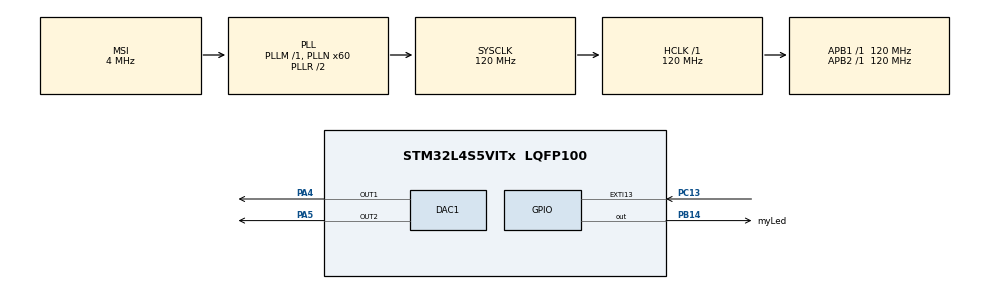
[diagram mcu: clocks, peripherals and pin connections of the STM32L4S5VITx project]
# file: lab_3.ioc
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ADC1.Channel-0\#ChannelRegularConversion=ADC_CHANNEL_TEMPSENSOR
ADC1.NbrOfConversionFlag=1
ADC1.OffsetNumber-0\#ChannelRegularConversion=ADC_OFFSET_NONE
ADC1.Rank-0\#ChannelRegularConversion=1
ADC1.SamplingTime-0\#ChannelRegularConversion=ADC_SAMPLETIME_640CYCLES_5
ADC1.master=1
DAC1.DAC_Channel-DAC_OUT2=DAC_CHANNEL_2
DAC1.DAC_Trigger-DAC_OUT1=DAC_TRIGGER_T2_TRGO
Dma.DAC1_CH1.0.Direction=DMA_MEMORY_TO_PERIPH
Dma.DAC1_CH1.0.EventEnable=DISABLE
Dma.DAC1_CH1.0.Instance=DMA1_Channel2
Dma.DAC1_CH1.0.MemDataAlignment=DMA_MDATAALIGN_HALFWORD
Dma.DAC1_CH1.0.MemInc=DMA_MINC_ENABLE
Dma.DAC1_CH1.0.Mode=DMA_CIRCULAR
Dma.DAC1_CH1.0.PeriphDataAlignment=DMA_PDATAALIGN_HALFWORD
Dma.DAC1_CH1.0.PeriphInc=DMA_PINC_DISABLE
Dma.DAC1_CH1.0.Polarity=HAL_DMAMUX_REQUEST_GEN_RISING
Dma.DAC1_CH1.0.Priority=DMA_PRIORITY_LOW
Dma.DAC1_CH1.0.RequestNumber=1
Dma.DAC1_CH1.0.SignalID=NONE
Dma.DAC1_CH1.0.SyncEnable=DISABLE
Dma.DAC1_CH1.0.SyncPolarity=HAL_DMAMUX_SYNC_NO_EVENT
Dma.DAC1_CH1.0.SyncRequestNumber=1
Dma.DAC1_CH1.0.SyncSignalID=NONE
Dma.Request0=DAC1_CH1
Mcu.Family=STM32L4
Mcu.Name=STM32L4S5VITx
Mcu.Package=LQFP100
NVIC.DMA1_Channel2_IRQn=true\:0\:0\:false\:false\:true\:false\:true\:true
NVIC.EXTI15_10_IRQn=true\:0\:0\:false\:false\:true\:true\:true\:true
NVIC.PriorityGroup=NVIC_PRIORITYGROUP_4
NVIC.TIM2_IRQn=true\:0\:0\:false\:false\:true\:true\:true\:true
PA13\ (JTMS/SWDIO).Signal=SYS_JTMS-SWDIO
PA4.Signal=COMP_DAC11_group
PA5.Signal=COMP_DAC12_group
PB14.GPIO_Label=myLed
PB14.Signal=GPIO_Output
PB3\ (JTDO/TRACESWO).Signal=SYS_JTDO-SWO
PC13.Signal=GPXTI13
ProjectManager.HeapSize=0x200
ProjectManager.StackSize=0x400
ProjectManager.TargetToolchain=STM32CubeIDE
RCC.ADCFreq_Value=32000000
RCC.AHBFreq_Value=120000000
RCC.APB1Freq_Value=120000000
RCC.APB1TimFreq_Value=120000000
RCC.APB2Freq_Value=120000000
RCC.APB2TimFreq_Value=120000000
RCC.CortexFreq_Value=120000000
RCC.HCLKFreq_Value=120000000
RCC.HSE_VALUE=8000000
RCC.HSI48_VALUE=48000000
RCC.HSI_VALUE=16000000
RCC.LSE_VALUE=32768
RCC.MSI_VALUE=4000000
RCC.PLLN=60
RCC.PLLSAI1N=16
RCC.SYSCLKFreq_VALUE=120000000
RCC.SYSCLKSource=RCC_SYSCLKSOURCE_PLLCLK
RCC.USBFreq_Value=32000000
RCC.VCOOutputFreq_Value=240000000
SH.COMP_DAC11_group.0=DAC1_OUT1,DAC_OUT1
SH.COMP_DAC12_group.0=DAC1_OUT2,DAC_OUT2
TIM2.Period=23
TIM2.Prescaler=120
TIM2.TIM_MasterOutputTrigger=TIM_TRGO_UPDATE
VP_ADC1_TempSens_Input.Mode=IN-TempSens
VP_ADC1_Vref_Input.Mode=IN-Vrefint
VP_TIM2_VS_ClockSourceINT.Mode=Internal
board=B-L4S5I-IOT01A

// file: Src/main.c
/* USER CODE BEGIN Header */
/**
  ******************************************************************************
  * @file           : main.c
  * @brief          : Main program body
  ******************************************************************************
  * @attention
  *
  * Copyright (c) 2023 STMicroelectronics.
  * All rights reserved.
  *
  * This software is licensed under terms that can be found in the LICENSE file
  * in the root directory of this software component.
  * If no LICENSE file comes with this software, it is provided AS-IS.
  *
  ******************************************************************************
  */
/* USER CODE END Header */
#include "main.h"

/* USER CODE BEGIN Includes */
#include <math.h>
#define ARM_MATH_CM4
#include "arm_math.h"
#include <stdio.h>
//#include "stm32l4xx_hal_adc_ex.h"

/* USER CODE END Includes */

ADC_HandleTypeDef hadc1;

DAC_HandleTypeDef hdac1;
DMA_HandleTypeDef hdma_dac1_ch1;

TIM_HandleTypeDef htim2;

/* USER CODE BEGIN PV */
float temp;
float vref;
float vref_temp;
uint16_t sawtooth_data;
uint16_t triangle_data;
uint16_t sin_data;

int globalIndex;
int secondsElapsed;

int sin1kHz[44];
uint16_t sin15kHz[30];
uint16_t sin2kHz[22];

int selector;

#define SIZE1K 44
#define SIZE15K 30
#define SIZE2K 22

/*
 * The following arrays are for a frequency of 65Hz, and an amplitude of 1V.
 * To adjust the amplitude, just multiply each element by a desired amplitude, A.
 */
int triangleArray[15] = {0, 530, 1060, 1590, 2120, 2650, 3180, 3710, 3180, 2650, 2120, 1590, 1060, 530, 0};
int sawtoothArray[15] = { 0,  270,  540,  810, 1080, 1350, 1620, 1890, 2160, 2430, 2700, 2970, 3240, 3510,3780};

/* USER CODE END PV */

void SystemClock_Config(void);
static void MX_GPIO_Init(void);
static void MX_DMA_Init(void);
static void MX_ADC1_Init(void);
static void MX_DAC1_Init(void);
static void MX_TIM2_Init(void);
/* USER CODE BEGIN PFP */
void configure_channels(int i);

/* USER CODE END PFP */

/* USER CODE BEGIN 0 */

#define VREFINT ((uint16_t*)(uint32_t)0x1FFF75AA)
#define TS_CAL1 ((uint16_t*)(uint32_t)0x1FFF75A8) //TS ADC raw data acquired at a temperature of 30 °C  (AROUND 3 V)
#define TS_CAL2 ((uint16_t*)(uint32_t)0x1FFF75CA) //TS ADC raw data acquired at a temperature of 130 °C

#define TS_CAL1_TEMP ((float)30.0) //temp used to measure TS_CAL1
#define TS_CAL2_TEMP ((float) 130.0) //temp used to measure TS_CAL2

//conditional compiling

#define TIMER
#undef P1
#define SINTEST

/* USER CODE END 0 */

int main(void)
{

  /* MCU Configuration--------------------------------------------------------*/

  /* Reset of all peripherals, Initializes the Flash interface and the Systick. */
  HAL_Init();

  /* Configure the system clock */
  SystemClock_Config();

  /* Initialize all configured peripherals */
  MX_GPIO_Init();
  MX_DMA_Init();
  MX_ADC1_Init();
  MX_DAC1_Init();
  MX_TIM2_Init();
  /* USER CODE BEGIN 2 */

//  while(HAL_ADCEx_Calibration_Start(&hadc1,0) != HAL_OK);           // calibrate AD convertor

//  HAL_ADCEx_CalibrationStart(); //improve accuarcy of ADC conversion by calibrating driver

  /* USER CODE END 2 */

  /* Infinite loop */
  /* USER CODE BEGIN WHILE */

  // find vref
  configure_channels(0); 										//switch to voltage channel on ADC MUX
  HAL_ADC_Start(&hadc1); 								   //activate peripheral and start conversion
  HAL_ADC_PollForConversion(&hadc1, HAL_MAX_DELAY);  	  //wait for completion
  float raw_voltage = HAL_ADC_GetValue(&hadc1);		  //read sensor's digital value
  HAL_ADC_Stop(&hadc1);
  vref = 3.0f * (*VREFINT)/raw_voltage;

  // initialize variables
//  int frequency = 65;
//  int numSamples = 4*frequency;
//  double timestep = 1/frequency/numSamples*1000; // get the timestep in ms
  int nb = 8; // number of bits in data

  // initialize DAC data
  sawtooth_data = 0;
  triangle_data = 0;
  globalIndex = 0;
  secondsElapsed = 0;
//  double sawtooth;
//  double triangle;
  double sin;
  sin_data = 0;

  float rad = 0;

  //start DMA
 // printf("Starting while loop \n");

  selector = 0; //to select between sin waves

  //create the 1 kHz wave => 44 samples
  for (int y = 0; y<SIZE1K ; y++){
	  rad = (2*M_PI/SIZE1K)*y;
	  sin1kHz[y] = (arm_sin_f32(rad)+ 1)*4096/3.3; // +1 for positive and multiplication for amplitude
	  printf("%d", sin1kHz[y]);
  }

  for (int y = 0; y<SIZE15K ; y++){
  	  rad = (2*M_PI/SIZE15K)*y;
  	  sin15kHz[y] = (arm_sin_f32(rad)+ 1)*4096/vref; // +1 for positive and multiplication for amplitude
  }

  for (int y = 0; y<SIZE2K ; y++){
  	  rad = (2*M_PI/SIZE2K)*y;
  	  sin2kHz[y] = (arm_sin_f32(rad)+ 1)*4096/vref; // +1 for positive and multiplication for amplitude
  }

  int i = 0;

  HAL_DAC_Start(&hdac1, DAC_CHANNEL_1);
  HAL_DAC_Start(&hdac1, DAC_CHANNEL_2);
  HAL_TIM_Base_Start_IT(&htim2);

#ifdef DMA
  HAL_DAC_Start_DMA(&hdac1, DAC_CHANNEL_1,(uint32_t*)sin1kHz, SIZE1K, DAC_ALIGN_12B_R);
#endif

  while (1)
  {

    /* USER CODE END WHILE */

    /* USER CODE BEGIN 3 */

#ifdef P1 //not when timer is not working
	//HAL_DAC_setValue(sawtooth[i]);
//	 sawtooth  = sawtoothArray[i];
//	 triangle = triangleArray[i];
//
//	 sawtooth_data = sawtooth;
//	 triangle_data = triangle;
//
	 sawtooth_data = sawtoothArray[i];
	 triangle_data = triangleArray[i];

	// To test sawtooth signal, simply change the data variable name in the
	// HAL_DAC_SetValue function!
	HAL_DAC_SetValue(&hdac1, DAC_CHANNEL_1, DAC_ALIGN_12B_R, triangle_data);
	HAL_DAC_SetValue(&hdac1, DAC_CHANNEL_2, DAC_ALIGN_12B_R, sawtooth_data);
	HAL_Delay(0.5);
	// 15 samples
    i++;
	if (i >= 15) {
		i = 0; //after 15 samples, reset the loop
	}
#endif

#ifdef SINTEST
	// arm_sin_f32 test
//	sin_data = sin2kHz[i%22];
//	// write to DAC
////	HAL_DAC_SetValue(&hdac1, DAC_CHANNEL_1, DAC_ALIGN_12B_R, sin1kHz[i%14]);
//	HAL_Delay(0); // 1.5ms
//	printf("index : %d, value : %d \n", i%22,sin2kHz[i%22]);
//	i++;

#endif

  }
//stop dma
  HAL_TIM_Base_Stop_IT(&htim2);  //stop timer
  HAL_DAC_Stop(&hdac1, DAC_CHANNEL_1);
  HAL_DAC_Stop(&hdac1, DAC_CHANNEL_2);

  /* USER CODE END 3 */
}

void SystemClock_Config(void)
{
  RCC_OscInitTypeDef RCC_OscInitStruct = {0};
  RCC_ClkInitTypeDef RCC_ClkInitStruct = {0};

  /** Configure the main internal regulator output voltage
  */
  if (HAL_PWREx_ControlVoltageScaling(PWR_REGULATOR_VOLTAGE_SCALE1_BOOST) != HAL_OK)
  {
    Error_Handler();
  }

  /** Initializes the RCC Oscillators according to the specified parameters
  * in the RCC_OscInitTypeDef structure.
  */
  RCC_OscInitStruct.OscillatorType = RCC_OSCILLATORTYPE_MSI;
  RCC_OscInitStruct.MSIState = RCC_MSI_ON;
  RCC_OscInitStruct.MSICalibrationValue = 0;
  RCC_OscInitStruct.MSIClockRange = RCC_MSIRANGE_6;
  RCC_OscInitStruct.PLL.PLLState = RCC_PLL_ON;
  RCC_OscInitStruct.PLL.PLLSource = RCC_PLLSOURCE_MSI;
  RCC_OscInitStruct.PLL.PLLM = 1;
  RCC_OscInitStruct.PLL.PLLN = 60;
  RCC_OscInitStruct.PLL.PLLP = RCC_PLLP_DIV2;
  RCC_OscInitStruct.PLL.PLLQ = RCC_PLLQ_DIV2;
  RCC_OscInitStruct.PLL.PLLR = RCC_PLLR_DIV2;
  if (HAL_RCC_OscConfig(&RCC_OscInitStruct) != HAL_OK)
  {
    Error_Handler();
  }

  /** Initializes the CPU, AHB and APB buses clocks
  */
  RCC_ClkInitStruct.ClockType = RCC_CLOCKTYPE_HCLK|RCC_CLOCKTYPE_SYSCLK
                              |RCC_CLOCKTYPE_PCLK1|RCC_CLOCKTYPE_PCLK2;
  RCC_ClkInitStruct.SYSCLKSource = RCC_SYSCLKSOURCE_PLLCLK;
  RCC_ClkInitStruct.AHBCLKDivider = RCC_SYSCLK_DIV1;
  RCC_ClkInitStruct.APB1CLKDivider = RCC_HCLK_DIV1;
  RCC_ClkInitStruct.APB2CLKDivider = RCC_HCLK_DIV1;

  if (HAL_RCC_ClockConfig(&RCC_ClkInitStruct, FLASH_LATENCY_5) != HAL_OK)
  {
    Error_Handler();
  }
}

static void MX_ADC1_Init(void)
{

  ADC_ChannelConfTypeDef sConfig = {0};

  /** Common config
  */
  hadc1.Instance = ADC1;
  hadc1.Init.ClockPrescaler = ADC_CLOCK_ASYNC_DIV1;
  hadc1.Init.Resolution = ADC_RESOLUTION_12B;
  hadc1.Init.DataAlign = ADC_DATAALIGN_RIGHT;
  hadc1.Init.ScanConvMode = ADC_SCAN_DISABLE;
  hadc1.Init.EOCSelection = ADC_EOC_SINGLE_CONV;
  hadc1.Init.LowPowerAutoWait = DISABLE;
  hadc1.Init.ContinuousConvMode = DISABLE;
  hadc1.Init.NbrOfConversion = 1;
  hadc1.Init.DiscontinuousConvMode = DISABLE;
  hadc1.Init.ExternalTrigConv = ADC_SOFTWARE_START;
  hadc1.Init.ExternalTrigConvEdge = ADC_EXTERNALTRIGCONVEDGE_NONE;
  hadc1.Init.DMAContinuousRequests = DISABLE;
  hadc1.Init.Overrun = ADC_OVR_DATA_PRESERVED;
  hadc1.Init.OversamplingMode = DISABLE;
  hadc1.Init.DFSDMConfig = ADC_DFSDM_MODE_ENABLE;
  if (HAL_ADC_Init(&hadc1) != HAL_OK)
  {
    Error_Handler();
  }

  /** Configure Regular Channel
  */
  sConfig.Channel = ADC_CHANNEL_TEMPSENSOR;
  sConfig.Rank = ADC_REGULAR_RANK_1;
  sConfig.SamplingTime = ADC_SAMPLETIME_640CYCLES_5;
  sConfig.SingleDiff = ADC_SINGLE_ENDED;
  sConfig.OffsetNumber = ADC_OFFSET_NONE;
  sConfig.Offset = 0;
  if (HAL_ADC_ConfigChannel(&hadc1, &sConfig) != HAL_OK)
  {
    Error_Handler();
  }

}

static void MX_DAC1_Init(void)
{

  DAC_ChannelConfTypeDef sConfig = {0};

  /** DAC Initialization
  */
  hdac1.Instance = DAC1;
  if (HAL_DAC_Init(&hdac1) != HAL_OK)
  {
    Error_Handler();
  }

  /** DAC channel OUT1 config
  */
  sConfig.DAC_SampleAndHold = DAC_SAMPLEANDHOLD_DISABLE;
  sConfig.DAC_Trigger = DAC_TRIGGER_NONE;
  sConfig.DAC_HighFrequency = DAC_HIGH_FREQUENCY_INTERFACE_MODE_ABOVE_80MHZ;
  sConfig.DAC_OutputBuffer = DAC_OUTPUTBUFFER_ENABLE;
  sConfig.DAC_ConnectOnChipPeripheral = DAC_CHIPCONNECT_DISABLE;
  sConfig.DAC_UserTrimming = DAC_TRIMMING_FACTORY;
  if (HAL_DAC_ConfigChannel(&hdac1, &sConfig, DAC_CHANNEL_1) != HAL_OK)
  {
    Error_Handler();
  }

  /** DAC channel OUT2 config
  */
  if (HAL_DAC_ConfigChannel(&hdac1, &sConfig, DAC_CHANNEL_2) != HAL_OK)
  {
    Error_Handler();
  }

}

static void MX_TIM2_Init(void)
{

  TIM_ClockConfigTypeDef sClockSourceConfig = {0};
  TIM_MasterConfigTypeDef sMasterConfig = {0};

  htim2.Instance = TIM2;
  htim2.Init.Prescaler = 120;
  htim2.Init.CounterMode = TIM_COUNTERMODE_UP;
  htim2.Init.Period = 23;
  htim2.Init.ClockDivision = TIM_CLOCKDIVISION_DIV1;
  htim2.Init.AutoReloadPreload = TIM_AUTORELOAD_PRELOAD_DISABLE;
  if (HAL_TIM_Base_Init(&htim2) != HAL_OK)
  {
    Error_Handler();
  }
  sClockSourceConfig.ClockSource = TIM_CLOCKSOURCE_INTERNAL;
  if (HAL_TIM_ConfigClockSource(&htim2, &sClockSourceConfig) != HAL_OK)
  {
    Error_Handler();
  }
  sMasterConfig.MasterOutputTrigger = TIM_TRGO_RESET;
  sMasterConfig.MasterSlaveMode = TIM_MASTERSLAVEMODE_DISABLE;
  if (HAL_TIMEx_MasterConfigSynchronization(&htim2, &sMasterConfig) != HAL_OK)
  {
    Error_Handler();
  }

}

static void MX_DMA_Init(void)
{

  /* DMA controller clock enable */
  __HAL_RCC_DMAMUX1_CLK_ENABLE();
  __HAL_RCC_DMA1_CLK_ENABLE();

  /* DMA interrupt init */
  /* DMA1_Channel2_IRQn interrupt configuration */
  HAL_NVIC_SetPriority(DMA1_Channel2_IRQn, 0, 0);
  HAL_NVIC_EnableIRQ(DMA1_Channel2_IRQn);

}

static void MX_GPIO_Init(void)
{
  GPIO_InitTypeDef GPIO_InitStruct = {0};

  /* GPIO Ports Clock Enable */
  __HAL_RCC_GPIOC_CLK_ENABLE();
  __HAL_RCC_GPIOA_CLK_ENABLE();
  __HAL_RCC_GPIOB_CLK_ENABLE();

  /*Configure GPIO pin Output Level */
  HAL_GPIO_WritePin(myLed_GPIO_Port, myLed_Pin, GPIO_PIN_RESET);

  /*Configure GPIO pin : PC13 */
  GPIO_InitStruct.Pin = GPIO_PIN_13;
  GPIO_InitStruct.Mode = GPIO_MODE_IT_RISING;
  GPIO_InitStruct.Pull = GPIO_NOPULL;
  HAL_GPIO_Init(GPIOC, &GPIO_InitStruct);

  /*Configure GPIO pin : myLed_Pin */
  GPIO_InitStruct.Pin = myLed_Pin;
  GPIO_InitStruct.Mode = GPIO_MODE_OUTPUT_PP;
  GPIO_InitStruct.Pull = GPIO_NOPULL;
  GPIO_InitStruct.Speed = GPIO_SPEED_FREQ_LOW;
  HAL_GPIO_Init(myLed_GPIO_Port, &GPIO_InitStruct);

  /* EXTI interrupt init*/
  HAL_NVIC_SetPriority(EXTI15_10_IRQn, 0, 0);
  HAL_NVIC_EnableIRQ(EXTI15_10_IRQn);

}

/* USER CODE BEGIN 4 */

#ifdef TIMER
//call back function for timer
void HAL_TIM_PeriodElapsedCallback(TIM_HandleTypeDef *htim){
	if (htim->Instance == TIM2) {
		printf("-------Timer call back function, writing to DAC ----- \n Index : %d, ",globalIndex%15);
		HAL_GPIO_TogglePin (myLed_GPIO_Port, myLed_Pin);

		HAL_DAC_SetValue(&hdac1, DAC_CHANNEL_1, DAC_ALIGN_12B_R, sin1kHz[globalIndex%44]);
		HAL_DAC_SetValue(&hdac1, DAC_CHANNEL_2, DAC_ALIGN_12B_R, sin2kHz[globalIndex%22]);
		printf("1k sine wave value :index: %d :  %d\n",globalIndex%44, sin1kHz[globalIndex%44]);
		printf("2k sine wave value :index: %d :  %d \n",globalIndex%22, sin1kHz[globalIndex%22]);

//		secondsElapsed = globalIndex/1000;//to get value in seconds
//		printf("Seconds elapsed:%d \n", secondsElapsed);
//		printf("Triangle value : %d \n Sawtooth value : %d \n", triangle_data, sawtooth_data);
//		HAL_DAC_SetValue(&hdac1, DAC_CHANNEL_1, DAC_ALIGN_12B_R, triangle_data);
//		HAL_DAC_SetValue(&hdac1, DAC_CHANNEL_2, DAC_ALIGN_12B_R,sawtooth_data);

		globalIndex++;

		HAL_IncTick();

	}

}
#endif

//callback function for interrupt
void HAL_GPIO_EXTI_Callback(uint16_t GPIO_Pin){
	if (GPIO_Pin == GPIO_PIN_13) { //verify pin
		printf("Button has been pressed, switching frequencies \n");
		HAL_GPIO_TogglePin (myLed_GPIO_Port, myLed_Pin);
		if (globalIndex == 0){
			selector++;
		}
		HAL_DAC_Stop_DMA(&hdac1, DAC_CHANNEL_1);
		// stop dma
		if (selector%3 == 0){
			printf("Switching to 1kH wave\n");
			HAL_DAC_Start_DMA(&hdac1, DAC_CHANNEL_1,(uint32_t*)sin1kHz, SIZE1K, DAC_ALIGN_12B_R);
		}else if (selector%3 == 1){
			printf("Switching to 1.5kH wave\n");
			HAL_DAC_Start_DMA(&hdac1, DAC_CHANNEL_1,(uint32_t*)sin15kHz, SIZE15K, DAC_ALIGN_12B_R);
		}else if (selector%3 == 2){
			printf("Switching to 2kH wave\n");
			HAL_DAC_Start_DMA(&hdac1, DAC_CHANNEL_1,(uint32_t*)sin2kHz, SIZE2K, DAC_ALIGN_12B_R);
		}
		globalIndex++;
		selector++;
	}
}

//configure channels
//0 for Vref and 1 for temp
void configure_channels(int i){

	ADC_ChannelConfTypeDef sConfig = {0};
	if (i == 0){
		sConfig.Channel = ADC_CHANNEL_VREFINT;
	}else{
		sConfig.Channel = ADC_CHANNEL_TEMPSENSOR;
	}
	sConfig.Rank = ADC_REGULAR_RANK_1;
	sConfig.SamplingTime = ADC_SAMPLETIME_640CYCLES_5;
	sConfig.SingleDiff = ADC_SINGLE_ENDED;
	sConfig.OffsetNumber = ADC_OFFSET_NONE;
	sConfig.Offset = 0;
	if (HAL_ADC_ConfigChannel(&hadc1, &sConfig) != HAL_OK)
	{
	Error_Handler();
	}

}

//function for printing to console (swb port 0)
int _write(int file, char *ptr, int len)
{
  (void)file;
  int DataIdx;

  for (DataIdx = 0; DataIdx < len; DataIdx++)
  {
	  ITM_SendChar(*ptr++);
  }
  return len;
}

/* USER CODE END 4 */

void Error_Handler(void)
{
  __disable_irq();
  while (1)
  {
  }
}
